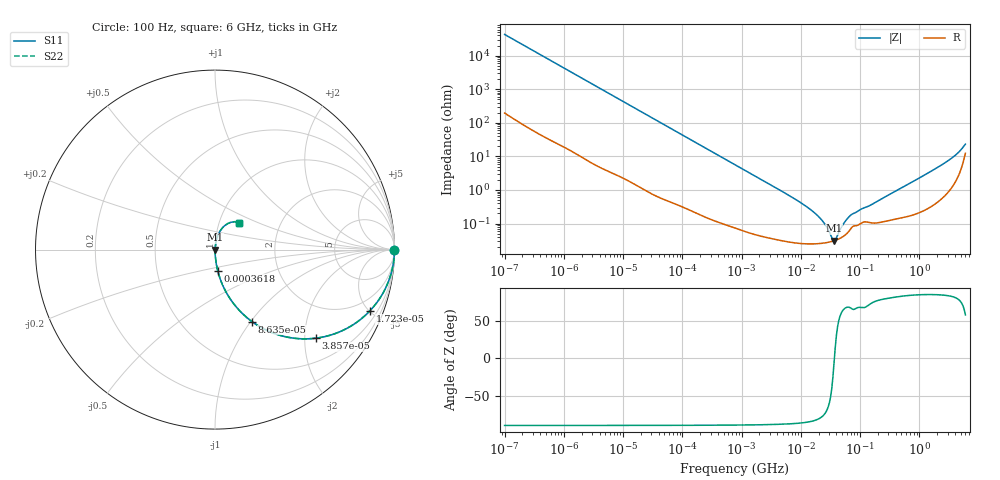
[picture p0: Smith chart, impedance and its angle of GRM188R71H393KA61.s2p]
!Murata Part Number: GRM188R71H393KA61
!These Parameters are Measured in Series Mode Connection
!Data Generated on Mar 30, 2021
!  o--ll--o
!Port1  Port2
!  o------o
!Operation Temp=25[degC], DC Bias Voltage=0[V]
!Freq. Start=100[Hz] Stop=6[GHz] 401[Steps]
# Hz S RI R 50
!Freq.(Hz) S11(Real) S11(Imag) S21(Real) S21(Imag) S12(Real) S12(Imag) S22(Real) S22(Imag)
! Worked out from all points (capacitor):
!   401 points, 100 Hz to 6 GHz, reference 50 ohm
!   read as one part in series: C = 37.1 nF near 109 Hz
!   lowest |Z| = 31 mohm at 36.42 MHz (marker M1)
!   series resonance near 36.9 MHz, so ESL is about 500 pH
!   S11 on the Smith chart (normalised r, x): 100 Hz: open; 17.23 kHz: 1.03, -5.05; 38.57 kHz: 1.01, -2.26; 86.35 kHz: 1.01, -1.01; 361.8 kHz: 1.00, -0.24; 6 GHz: 1.25, +0.39
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100  1 -0.00233  1.61e-05 0.00233  1.61e-05 0.00233  1 -0.00233
2008  0.9976 -0.0463  0.00236 0.0463  0.00236 0.0463  0.9976 -0.0463
6433  0.9778 -0.145  0.0222 0.145  0.0222 0.145  0.9778 -0.145
17227  0.8631 -0.3411  0.1369 0.3411  0.1369 0.3411  0.8631 -0.3411
38569  0.5607 -0.4935  0.4393 0.4935  0.4393 0.4935  0.5607 -0.4935
40335  0.5387 -0.4957  0.4613 0.4957  0.4613 0.4957  0.5387 -0.4957
86348  0.2057 -0.4008  0.7943 0.4008  0.7943 0.4008  0.2057 -0.4008
161617  0.0703 -0.2517  0.9297 0.2517  0.9297 0.2517  0.0703 -0.2517
361830  0.0157 -0.1196  0.9843 0.1196  0.9843 0.1196  0.0157 -0.1196
774597  0.00397 -0.0568  0.996 0.0568  0.996 0.0568  0.00397 -0.0568
6644369  0.000321 -0.00653  0.9997 0.00653  0.9997 0.00653  0.000321 -0.00653
1.555665e7  0.000253 -0.00238  0.9997 0.00238  0.9997 0.00238  0.000253 -0.00238
2.327686e7  0.000261 -0.00117  0.9997 0.00117  0.9997 0.00117  0.000261 -0.00117
3.330331e7  0.000294 -0.000251  0.9997 0.000251  0.9997 0.000251  0.000294 -0.000251
3.64232e7  0.000308 -3.14e-05  0.9997 3.14e-05  0.9997 3.14e-05  0.000308 -3.14e-05
3.983537e7  0.000326 0.000188  0.9997 -0.000188  0.9997 -0.000188  0.000326 0.000188
5.449875e7  0.000439 0.000988  0.9996 -0.000988  0.9996 -0.000988  0.000439 0.000988
6.817316e7  0.000665 0.00159  0.9993 -0.00159  0.9993 -0.00159  0.000665 0.00159
3.124326e8  0.00129 0.0072  0.9987 -0.0072  0.9987 -0.0072  0.00129 0.0072
2.562649e9  0.00967 0.0594  0.9903 -0.0594  0.9903 -0.0594  0.00967 0.0594
4.385646e9  0.0353 0.1134  0.9647 -0.1134  0.9647 -0.1134  0.0353 0.1134
6e9  0.1362 0.1509  0.8638 -0.1509  0.8638 -0.1509  0.1362 0.1509
